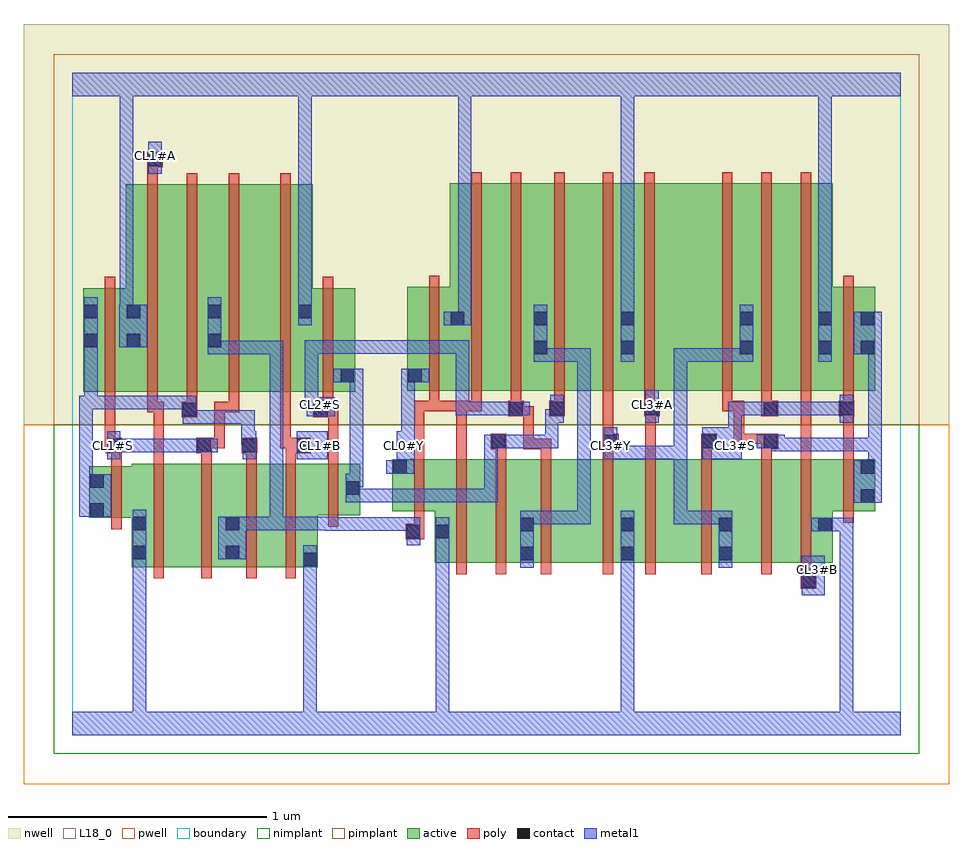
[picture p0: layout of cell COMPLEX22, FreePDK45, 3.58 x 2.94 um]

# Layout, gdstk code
import gdstk
lib = gdstk.Library(unit=1e-6, precision=1e-09)
def R(c, l, rs):  # rectangles x0, y0, x1, y1
    for r in rs: c.add(gdstk.rectangle(r[:2], r[2:], *l))
def A(c, l, x, y, w, h, nx, ny, dx, dy):  # array of equal rectangles
    R(c, l, [(x+i*dx, y+j*dy, x+i*dx+w, y+j*dy+h) for i in range(nx) for j in range(ny)])
active = (1, 0)
pwell = (2, 0)
nwell = (3, 0)
nimplant = (4, 0)
pimplant = (5, 0)
poly = (9, 0)
contact = (10, 0)
metal1 = (11, 0)
L18_0 = (18, 0)
boundary = (235, 0)

complex22 = lib.new_cell('COMPLEX22')
R(complex22, active, [(0.23,0.65,0.41,1.05), (0.41,0.65,0.648,1.05), (0.588,0.65,0.768,1.05), (0.768,0.65,0.948,1.05), (0.888,0.65,0.948,0.85), (1.4,0.666,1.58,1.066), (1.4,0.666,1.46,0.866), (1.58,0.666,1.786,1.066), (1.726,0.666,1.786,1.066), (1.726,0.666,1.994,1.066), (1.994,0.666,2.174,1.066), (2.114,0.666,2.31,1.066), (2.114,0.666,2.174,1.066), (2.31,0.666,2.554,1.066), (2.494,0.666,2.758,1.066), (2.494,0.666,2.554,0.844), (2.758,0.666,2.938,1.066), (0.23,0.676,0.29,0.848), (0.588,0.676,0.648,0.848), (2.878,0.784,2.938,1.066), (0.066,0.84,0.29,1.04), (0.066,0.84,0.126,1.04), (0.888,0.85,1.112,1.05), (1.236,0.866,1.46,1.066), (1.236,0.866,1.296,1.066), (2.878,0.866,3.102,1.066), (3.042,0.894,3.102,1.066), (1.052,0.926,1.112,1.05), (0.042,1.328,0.102,1.728), (0.042,1.328,0.266,1.728), (0.206,1.328,0.386,2.128), (0.386,1.328,0.58,2.128), (0.52,1.328,0.748,2.128), (0.52,1.328,0.58,2.044), (0.748,1.328,0.928,2.128), (0.868,1.328,1.092,1.728), (0.868,1.328,0.928,1.668), (1.032,1.328,1.092,1.644), (1.294,1.332,1.518,1.732), (1.294,1.332,1.354,1.644), (1.458,1.332,1.638,2.132), (1.458,1.332,1.518,2.132), (1.638,1.332,1.838,2.132), (1.778,1.332,1.958,2.132), (1.778,1.332,1.838,2.132), (1.958,1.332,2.174,2.132), (2.114,1.332,2.306,2.132), (2.306,1.332,2.634,2.132), (2.574,1.332,2.758,2.132), (2.574,1.332,2.634,2.044), (2.758,1.332,2.938,2.132), (2.878,1.332,3.102,1.732), (3.042,1.332,3.102,1.732), (2.114,1.468,2.174,2.044), (2.878,1.468,2.938,2.132), (0.206,1.496,0.266,2.128)])
R(complex22, pwell, [(-0.188,-0.188,3.388,1.2)])
R(complex22, nwell, [(-0.188,1.2,3.388,2.748)])
R(complex22, nimplant, [(-0.072,-0.072,3.272,1.2)])
R(complex22, pimplant, [(-0.072,1.2,3.272,2.632)])
A(complex22, poly, 2.51, 1.288, 0.04, 0.888, 3, 1, 0.152, 0)
R(complex22, poly, [(2.814,0.566,2.874,0.626), (2.814,0.586,2.854,0.662), (0.314,0.606,0.354,1.094), (0.498,0.606,0.538,1.094), (0.672,0.606,0.712,1.094), (0.824,0.606,0.864,1.094), (1.484,0.622,1.524,1.11), (1.636,0.622,1.676,1.11), (1.81,0.622,1.85,1.11), (2.05,0.622,2.09,1.11), (2.214,0.622,2.254,1.11), (2.43,0.622,2.47,1.11), (2.662,0.622,2.702,1.11), (2.814,0.622,2.854,1.11), (1.288,0.758,1.36,0.818), (1.32,0.778,1.36,0.862), (0.15,0.796,0.19,1.084), (0.988,0.806,1.028,1.094), (1.32,0.822,1.36,1.11), (2.978,0.822,3.018,1.11), (0.15,1.044,0.19,1.13), (0.314,1.054,0.354,1.288), (0.498,1.054,0.538,1.13), (0.672,1.054,0.712,1.13), (0.824,1.054,0.864,1.13), (0.988,1.054,1.028,1.268), (1.32,1.07,1.36,1.292), (1.484,1.07,1.524,1.292), (1.636,1.07,1.676,1.146), (1.81,1.07,1.85,1.146), (2.05,1.07,2.09,1.146), (2.214,1.07,2.254,1.272), (2.43,1.07,2.47,1.146), (2.662,1.07,2.702,1.146), (2.814,1.07,2.854,1.218), (2.978,1.07,3.018,1.272), (0.13,1.09,0.19,1.15), (0.478,1.09,0.538,1.15), (0.654,1.09,0.714,1.15), (0.824,1.09,0.922,1.15), (1.616,1.106,1.676,1.166), (1.742,1.106,1.782,1.146), (1.742,1.106,1.782,1.272), (1.742,1.106,1.85,1.146), (1.81,1.106,1.85,1.146), (2.05,1.106,2.11,1.166), (2.43,1.106,2.49,1.166), (2.662,1.106,2.728,1.166), (0.126,1.11,0.166,1.324), (0.126,1.11,0.17,1.15), (0.13,1.11,0.17,1.15), (0.498,1.11,0.588,1.15), (0.548,1.11,0.588,1.15), (0.548,1.11,0.588,1.288), (0.804,1.11,0.844,1.324), (0.804,1.11,0.864,1.15), (0.824,1.11,0.864,1.15), (2.05,1.126,2.09,1.166), (2.05,1.126,2.09,1.166), (2.05,1.126,2.09,1.328), (2.556,1.126,2.596,1.166), (2.556,1.126,2.702,1.166), (2.556,1.126,2.596,1.292), (2.814,1.178,2.854,1.218), (2.814,1.178,2.854,1.218), (2.814,1.178,2.854,1.218), (2.814,1.178,2.854,1.328), (0.422,1.228,0.482,1.288), (0.93,1.228,1.028,1.288), (0.988,1.228,1.028,1.268), (0.988,1.228,1.028,1.268), (1.684,1.232,1.744,1.292), (1.704,1.232,1.782,1.272), (1.742,1.232,1.782,1.272), (1.842,1.232,1.902,1.292), (2.21,1.232,2.27,1.292), (2.214,1.232,2.254,1.272), (2.214,1.232,2.254,1.272), (2.662,1.232,2.728,1.292), (2.96,1.232,3.02,1.292), (2.978,1.232,3.018,1.272), (2.978,1.232,3.018,1.272), (0.29,1.248,0.33,1.324), (0.29,1.248,0.34,1.288), (0.3,1.248,0.34,1.288), (0.3,1.248,0.354,1.288), (0.442,1.248,0.482,1.324), (0.548,1.248,0.588,1.288), (0.548,1.248,0.644,1.288), (0.604,1.248,0.644,1.324), (0.604,1.248,0.644,1.288), (0.968,1.248,1.008,1.324), (1.32,1.252,1.36,1.292), (1.32,1.252,1.36,1.292), (1.32,1.252,1.418,1.292), (1.378,1.252,1.418,1.328), (1.378,1.252,1.418,1.292), (1.378,1.252,1.418,1.292), (1.378,1.252,1.524,1.292), (1.484,1.252,1.524,1.292), (1.484,1.252,1.524,1.292), (1.484,1.252,1.582,1.292), (1.542,1.252,1.582,1.328), (1.694,1.252,1.734,1.328), (1.862,1.252,1.902,1.328), (2.21,1.252,2.25,1.328), (2.51,1.252,2.55,1.328), (2.51,1.252,2.55,1.292), (2.51,1.252,2.596,1.292), (2.556,1.252,2.596,1.292), (2.662,1.252,2.702,1.328), (2.978,1.252,3.018,1.328), (0.126,1.284,0.166,1.772), (0.29,1.284,0.33,2.172), (0.442,1.284,0.482,2.172), (0.604,1.284,0.644,2.172), (0.804,1.284,0.844,2.172), (0.968,1.284,1.008,1.772), (1.378,1.288,1.418,1.776), (1.542,1.288,1.582,2.176), (1.694,1.288,1.734,2.176), (1.862,1.288,1.902,2.176), (2.05,1.288,2.09,2.176), (2.21,1.288,2.25,2.176), (2.978,1.288,3.018,1.776), (0.29,2.132,0.33,2.234), (0.29,2.194,0.35,2.254)])
R(complex22, contact, [(2.818,0.57,2.87,0.622), (0.892,0.654,0.944,0.706), (1.73,0.676,1.782,0.728), (2.118,0.676,2.17,0.728), (2.498,0.676,2.55,0.728), (0.234,0.68,0.286,0.732), (0.592,0.68,0.644,0.732), (1.292,0.762,1.344,0.814), (1.404,0.762,1.456,0.814), (1.73,0.788,1.782,0.84), (2.118,0.788,2.17,0.84), (2.498,0.788,2.55,0.84), (2.882,0.788,2.934,0.84), (0.234,0.792,0.286,0.844), (0.592,0.792,0.644,0.844), (0.07,0.844,0.122,0.896), (3.046,0.898,3.098,0.95), (1.056,0.93,1.108,0.982), (0.07,0.956,0.122,1.008), (1.24,1.01,1.292,1.062), (3.046,1.01,3.098,1.062), (0.134,1.094,0.186,1.146), (0.482,1.094,0.534,1.146), (0.658,1.094,0.71,1.146), (0.866,1.094,0.918,1.146), (1.62,1.11,1.672,1.162), (2.054,1.11,2.106,1.162), (2.434,1.11,2.486,1.162), (2.672,1.11,2.724,1.162), (0.426,1.232,0.478,1.284), (0.934,1.232,0.986,1.284), (1.688,1.236,1.74,1.288), (1.846,1.236,1.898,1.288), (2.214,1.236,2.266,1.288), (2.672,1.236,2.724,1.288), (2.964,1.236,3.016,1.288), (1.036,1.364,1.088,1.416), (1.298,1.364,1.35,1.416), (1.782,1.472,1.834,1.524), (2.118,1.472,2.17,1.524), (2.578,1.472,2.63,1.524), (2.882,1.472,2.934,1.524), (3.046,1.472,3.098,1.524), (0.046,1.5,0.098,1.552), (0.21,1.5,0.262,1.552), (0.524,1.5,0.576,1.552), (1.462,1.584,1.514,1.636), (1.782,1.584,1.834,1.636), (2.118,1.584,2.17,1.636), (2.578,1.584,2.63,1.636), (2.882,1.584,2.934,1.636), (3.046,1.584,3.098,1.636), (0.046,1.612,0.098,1.664), (0.21,1.612,0.262,1.664), (0.524,1.612,0.576,1.664), (0.872,1.612,0.924,1.664), (0.294,2.198,0.346,2.25)])
R(complex22, metal1, [(0,0,3.2,0.092), (0.234,0.04,0.286,0.092), (0.234,0.04,0.286,0.092), (0.234,0.04,0.286,0.092), (0.234,0.04,0.286,0.092), (0.234,0.04,0.286,0.092), (0.234,0.04,0.286,0.092), (0.234,0.04,0.286,0.092), (0.234,0.04,0.286,0.092), (0.234,0.04,0.286,0.092), (0.234,0.04,0.286,0.092), (0.234,0.04,0.286,0.092), (0.234,0.04,0.286,0.092), (0.234,0.04,0.286,0.704), (0.892,0.04,0.944,0.092), (0.892,0.04,0.944,0.092), (0.892,0.04,0.944,0.092), (0.892,0.04,0.944,0.092), (0.892,0.04,0.944,0.092), (0.892,0.04,0.944,0.092), (0.892,0.04,0.944,0.092), (0.892,0.04,0.944,0.092), (0.892,0.04,0.944,0.092), (0.892,0.04,0.944,0.092), (0.892,0.04,0.944,0.092), (0.892,0.04,0.944,0.092), (0.892,0.04,0.944,0.678), (1.404,0.04,1.456,0.092), (1.404,0.04,1.456,0.092), (1.404,0.04,1.456,0.092), (1.404,0.04,1.456,0.092), (1.404,0.04,1.456,0.092), (1.404,0.04,1.456,0.092), (1.404,0.04,1.456,0.092), (1.404,0.04,1.456,0.092), (1.404,0.04,1.456,0.092), (1.404,0.04,1.456,0.092), (1.404,0.04,1.456,0.092), (1.404,0.04,1.456,0.092), (1.404,0.04,1.456,0.786), (2.118,0.04,2.17,0.092), (2.118,0.04,2.17,0.092), (2.118,0.04,2.17,0.092), (2.118,0.04,2.17,0.092), (2.118,0.04,2.17,0.092), (2.118,0.04,2.17,0.092), (2.118,0.04,2.17,0.092), (2.118,0.04,2.17,0.092), (2.118,0.04,2.17,0.092), (2.118,0.04,2.17,0.092), (2.118,0.04,2.17,0.7), (2.964,0.04,3.016,0.092), (2.964,0.04,3.016,0.092), (2.964,0.04,3.016,0.092), (2.964,0.04,3.016,0.092), (2.964,0.04,3.016,0.092), (2.964,0.04,3.016,0.092), (2.964,0.04,3.016,0.092), (2.964,0.04,3.016,0.092), (2.964,0.04,3.016,0.092), (2.964,0.04,3.016,0.092), (2.964,0.04,3.016,0.092), (2.964,0.04,3.016,0.092), (2.964,0.04,3.016,0.84), (2.818,0.542,2.906,0.694), (0.892,0.626,0.944,0.734), (1.73,0.648,1.782,0.868), (2.118,0.648,2.17,0.7), (2.118,0.648,2.17,0.7), (2.118,0.648,2.17,0.868), (2.498,0.648,2.55,0.868), (0.234,0.652,0.286,0.872), (0.564,0.68,0.672,0.844), (1.292,0.734,1.344,0.842), (1.404,0.734,1.456,0.842), (2.854,0.788,3.016,0.84), (0.974,0.79,1.026,0.844), (0.974,0.79,1.138,0.842), (1.086,0.79,1.138,0.842), (1.086,0.79,1.344,0.842), (1.292,0.79,1.344,0.842), (1.292,0.79,1.344,0.842), (0.62,0.792,0.672,0.844), (0.62,0.792,0.672,0.844), (0.62,0.792,0.814,0.844), (0.762,0.792,0.814,0.844), (0.762,0.792,0.814,0.844), (0.762,0.792,0.814,0.844), (0.762,0.792,0.82,0.844), (0.762,0.792,0.814,1.524), (0.768,0.792,0.82,0.844), (0.768,0.792,0.95,0.844), (0.898,0.792,0.95,0.844), (0.898,0.792,0.95,0.844), (0.898,0.792,0.95,0.844), (0.898,0.792,0.95,0.844), (0.898,0.792,0.95,0.844), (0.898,0.792,1.026,0.844), (1.73,0.816,1.996,0.868), (1.944,0.816,1.996,0.868), (1.944,0.816,2.002,0.868), (1.95,0.816,2.002,0.868), (1.95,0.816,2.002,1.496), (2.324,0.816,2.376,0.868), (2.324,0.816,2.55,0.868), (2.324,0.816,2.376,1.118), (2.498,0.816,2.55,0.868), (2.498,0.816,2.55,0.868), (0.026,0.844,0.15,1.008), (3.018,0.898,3.126,1.062), (1.056,0.9,1.346,0.952), (1.056,0.9,1.108,0.954), (1.294,0.9,1.346,0.952), (1.294,0.9,1.346,0.952), (1.294,0.9,1.346,0.952), (1.294,0.9,1.534,0.952), (1.482,0.9,1.534,0.952), (1.482,0.9,1.534,0.952), (1.482,0.9,1.534,0.952), (1.482,0.9,1.534,0.952), (1.482,0.9,1.534,0.952), (1.482,0.9,1.644,0.952), (1.592,0.9,1.644,0.952), (1.592,0.9,1.644,1.162), (1.056,0.902,1.108,0.954), (1.056,0.902,1.108,1.01), (0.026,0.956,0.078,1.312), (1.056,0.958,1.108,1.01), (1.056,0.958,1.124,1.01), (1.072,0.958,1.124,1.01), (1.072,0.958,1.124,1.01), (1.072,0.958,1.124,1.416), (1.212,1.01,1.32,1.062), (1.254,1.01,1.306,1.118), (3.074,1.01,3.126,1.15), (0.134,1.066,0.186,1.174), (0.658,1.066,0.71,1.174), (0.866,1.066,0.986,1.174), (1.254,1.066,1.322,1.174), (2.054,1.066,2.216,1.118), (2.054,1.066,2.106,1.19), (2.164,1.066,2.216,1.118), (2.164,1.066,2.216,1.118), (2.164,1.066,2.216,1.118), (2.164,1.066,2.376,1.118), (2.324,1.066,2.376,1.118), (2.324,1.066,2.376,1.118), (2.324,1.066,2.376,1.118), (2.324,1.066,2.376,1.496), (2.434,1.066,2.586,1.19), (0.134,1.094,0.356,1.146), (0.304,1.094,0.356,1.146), (0.304,1.094,0.356,1.146), (0.304,1.094,0.356,1.146), (0.304,1.094,0.466,1.146), (0.414,1.094,0.466,1.146), (0.414,1.094,0.506,1.146), (0.454,1.094,0.562,1.146), (2.7,1.098,2.862,1.15), (2.7,1.098,2.752,1.162), (2.81,1.098,2.862,1.15), (2.81,1.098,2.862,1.15), (2.81,1.098,2.862,1.15), (2.81,1.098,3.126,1.15), (3.074,1.098,3.126,1.15), (3.074,1.098,3.126,1.15), (3.074,1.098,3.126,1.15), (3.074,1.098,3.126,1.524), (1.592,1.11,1.644,1.162), (1.592,1.11,1.644,1.162), (1.592,1.11,1.7,1.162), (1.648,1.11,1.878,1.162), (1.826,1.11,1.878,1.162), (1.826,1.11,1.878,1.26), (2.644,1.11,2.752,1.162), (2.7,1.11,2.752,1.162), (0.652,1.122,0.704,1.174), (0.652,1.122,0.71,1.174), (0.652,1.122,0.704,1.256), (1.27,1.122,1.322,1.174), (1.27,1.122,1.322,1.174), (1.27,1.122,1.322,1.416), (2.534,1.138,2.586,1.19), (2.534,1.138,2.586,1.19), (2.534,1.138,2.586,1.288), (0.426,1.204,0.478,1.312), (0.426,1.204,0.704,1.256), (0.652,1.204,0.704,1.256), (1.826,1.208,1.878,1.26), (1.826,1.208,1.898,1.26), (1.846,1.208,1.898,1.316), (2.214,1.208,2.266,1.334), (2.964,1.208,3.016,1.316), (0.906,1.232,1.014,1.306), (1.482,1.236,1.534,1.288), (1.482,1.236,1.534,1.288), (1.482,1.236,1.534,1.288), (1.482,1.236,1.644,1.288), (1.482,1.236,1.534,1.526), (1.592,1.236,1.644,1.288), (1.592,1.236,1.712,1.288), (1.66,1.236,1.768,1.288), (2.534,1.236,2.586,1.288), (2.534,1.236,2.696,1.288), (2.644,1.236,2.752,1.288), (2.7,1.236,2.752,1.288), (2.7,1.236,2.752,1.288), (2.7,1.236,2.906,1.288), (2.854,1.236,2.906,1.288), (2.854,1.236,2.906,1.288), (2.854,1.236,2.906,1.288), (2.854,1.236,3.016,1.288), (0.898,1.254,0.95,1.306), (0.898,1.254,0.95,1.306), (0.898,1.254,0.95,1.306), (0.898,1.254,0.958,1.306), (0.898,1.254,0.95,1.526), (0.026,1.26,0.078,1.312), (0.026,1.26,0.078,1.312), (0.026,1.26,0.098,1.312), (0.046,1.26,0.098,1.312), (0.046,1.26,0.098,1.312), (0.046,1.26,0.296,1.312), (0.046,1.26,0.098,1.524), (0.244,1.26,0.296,1.312), (0.244,1.26,0.296,1.312), (0.244,1.26,0.296,1.312), (0.244,1.26,0.466,1.312), (0.414,1.26,0.466,1.312), (0.414,1.26,0.478,1.312), (1.008,1.364,1.124,1.416), (1.27,1.364,1.378,1.416), (1.782,1.444,1.834,1.664), (1.782,1.444,1.996,1.496), (1.944,1.444,1.996,1.496), (1.944,1.444,2.002,1.496), (1.95,1.444,2.002,1.496), (1.95,1.444,2.002,1.496), (1.95,1.444,2.002,1.496), (1.95,1.444,2.002,1.496), (1.95,1.444,2.002,1.496), (2.118,1.444,2.17,1.664), (2.324,1.444,2.376,1.496), (2.324,1.444,2.376,1.496), (2.324,1.444,2.376,1.496), (2.324,1.444,2.63,1.496), (2.578,1.444,2.63,1.664), (2.882,1.444,2.934,1.664), (0.046,1.472,0.098,1.692), (0.524,1.472,0.576,1.692), (0.524,1.472,0.71,1.524), (0.658,1.472,0.71,1.524), (0.658,1.472,0.814,1.524), (0.762,1.472,0.814,1.524), (0.762,1.472,0.814,1.524), (0.762,1.472,0.814,1.524), (3.018,1.472,3.126,1.636), (3.074,1.472,3.126,1.524), (3.074,1.472,3.126,1.524), (0.898,1.474,0.95,1.526), (0.898,1.474,1.034,1.526), (0.982,1.474,1.034,1.526), (0.982,1.474,1.138,1.526), (1.086,1.474,1.138,1.526), (1.086,1.474,1.248,1.526), (1.196,1.474,1.248,1.526), (1.196,1.474,1.248,1.526), (1.196,1.474,1.248,1.526), (1.196,1.474,1.534,1.526), (1.482,1.474,1.534,1.526), (1.482,1.474,1.534,1.526), (1.482,1.474,1.534,1.526), (0.182,1.5,0.29,1.664), (0.872,1.584,0.924,1.692), (1.434,1.584,1.542,1.636), (1.49,1.584,1.542,1.636), (1.49,1.584,1.542,1.636), (1.49,1.584,1.542,1.636), (1.49,1.584,1.542,1.636), (1.49,1.584,1.542,2.52), (0.184,1.612,0.236,1.664), (0.184,1.612,0.236,1.664), (0.184,1.612,0.236,1.664), (0.184,1.612,0.236,1.664), (0.184,1.612,0.236,1.664), (0.184,1.612,0.236,1.664), (0.184,1.612,0.236,2.52), (2.118,1.612,2.17,2.52), (2.882,1.612,2.934,2.52), (0.872,1.64,0.924,1.692), (0.872,1.64,0.924,1.692), (0.872,1.64,0.924,1.692), (0.872,1.64,0.924,1.692), (0.872,1.64,0.924,2.52), (0.294,2.17,0.346,2.294), (0,2.468,3.2,2.56), (0.184,2.468,0.236,2.52), (0.184,2.468,0.236,2.52), (0.872,2.468,0.924,2.52), (0.872,2.468,0.924,2.52), (0.872,2.468,0.924,2.52), (0.872,2.468,0.924,2.52), (1.49,2.468,1.542,2.52), (1.49,2.468,1.542,2.52), (1.49,2.468,1.542,2.52), (1.49,2.468,1.542,2.52), (2.118,2.468,2.17,2.52), (2.118,2.468,2.17,2.52), (2.118,2.468,2.17,2.52), (2.118,2.468,2.17,2.52), (2.118,2.468,2.17,2.52), (2.118,2.468,2.17,2.52), (2.118,2.468,2.17,2.52), (2.118,2.468,2.17,2.52), (2.882,2.468,2.934,2.52), (2.882,2.468,2.934,2.52), (2.882,2.468,2.934,2.52), (2.882,2.468,2.934,2.52), (2.882,2.468,2.934,2.52), (2.882,2.468,2.934,2.52), (2.882,2.468,2.934,2.52), (2.882,2.468,2.934,2.52)])
R(complex22, L18_0, [(0,0,3.2,0.092), (0.234,0.04,0.286,0.092), (0.234,0.04,0.286,0.092), (0.234,0.04,0.286,0.092), (0.234,0.04,0.286,0.092), (0.234,0.04,0.286,0.092), (0.234,0.04,0.286,0.092), (0.234,0.04,0.286,0.092), (0.234,0.04,0.286,0.092), (0.234,0.04,0.286,0.092), (0.234,0.04,0.286,0.092), (0.234,0.04,0.286,0.092), (0.234,0.04,0.286,0.092), (0.234,0.04,0.286,0.704), (0.892,0.04,0.944,0.092), (0.892,0.04,0.944,0.092), (0.892,0.04,0.944,0.092), (0.892,0.04,0.944,0.092), (0.892,0.04,0.944,0.092), (0.892,0.04,0.944,0.092), (0.892,0.04,0.944,0.092), (0.892,0.04,0.944,0.092), (0.892,0.04,0.944,0.092), (0.892,0.04,0.944,0.092), (0.892,0.04,0.944,0.092), (0.892,0.04,0.944,0.092), (0.892,0.04,0.944,0.678), (1.404,0.04,1.456,0.092), (1.404,0.04,1.456,0.092), (1.404,0.04,1.456,0.092), (1.404,0.04,1.456,0.092), (1.404,0.04,1.456,0.092), (1.404,0.04,1.456,0.092), (1.404,0.04,1.456,0.092), (1.404,0.04,1.456,0.092), (1.404,0.04,1.456,0.092), (1.404,0.04,1.456,0.092), (1.404,0.04,1.456,0.092), (1.404,0.04,1.456,0.092), (1.404,0.04,1.456,0.786), (2.118,0.04,2.17,0.092), (2.118,0.04,2.17,0.092), (2.118,0.04,2.17,0.092), (2.118,0.04,2.17,0.092), (2.118,0.04,2.17,0.092), (2.118,0.04,2.17,0.092), (2.118,0.04,2.17,0.092), (2.118,0.04,2.17,0.092), (2.118,0.04,2.17,0.092), (2.118,0.04,2.17,0.092), (2.118,0.04,2.17,0.7), (2.964,0.04,3.016,0.092), (2.964,0.04,3.016,0.092), (2.964,0.04,3.016,0.092), (2.964,0.04,3.016,0.092), (2.964,0.04,3.016,0.092), (2.964,0.04,3.016,0.092), (2.964,0.04,3.016,0.092), (2.964,0.04,3.016,0.092), (2.964,0.04,3.016,0.092), (2.964,0.04,3.016,0.092), (2.964,0.04,3.016,0.092), (2.964,0.04,3.016,0.092), (2.964,0.04,3.016,0.84), (2.818,0.542,2.906,0.694), (2.854,0.614,2.906,0.666), (0.892,0.626,0.944,0.734), (2.118,0.648,2.17,0.7), (2.118,0.648,2.17,0.7), (2.118,0.648,2.17,0.868), (2.498,0.648,2.55,0.868), (0.234,0.652,0.286,0.872), (1.404,0.734,1.456,0.842), (2.854,0.788,3.016,0.84), (2.324,0.816,2.376,0.868), (2.324,0.816,2.376,1.118), (2.324,0.816,2.55,0.868), (2.498,0.816,2.55,0.868), (2.498,0.816,2.55,0.868), (1.212,1.01,1.32,1.062), (1.254,1.01,1.306,1.118), (0.134,1.066,0.186,1.174), (0.866,1.066,0.986,1.174), (1.254,1.066,1.322,1.174), (2.054,1.066,2.106,1.19), (2.054,1.066,2.216,1.118), (2.164,1.066,2.216,1.118), (2.164,1.066,2.216,1.118), (2.164,1.066,2.216,1.118), (2.164,1.066,2.376,1.118), (2.324,1.066,2.376,1.118), (2.324,1.066,2.376,1.118), (2.324,1.066,2.376,1.118), (2.324,1.066,2.376,1.496), (2.434,1.066,2.586,1.19), (0.134,1.094,0.186,1.146), (0.134,1.094,0.356,1.146), (0.304,1.094,0.356,1.146), (0.304,1.094,0.356,1.146), (0.304,1.094,0.356,1.146), (0.304,1.094,0.466,1.146), (0.414,1.094,0.466,1.146), (0.414,1.094,0.506,1.146), (0.454,1.094,0.562,1.146), (0.934,1.094,0.986,1.146), (1.254,1.094,1.306,1.146), (2.054,1.094,2.106,1.146), (2.534,1.094,2.586,1.146), (1.27,1.122,1.322,1.174), (1.27,1.122,1.322,1.174), (1.27,1.122,1.322,1.416), (2.534,1.138,2.586,1.19), (2.534,1.138,2.586,1.19), (2.534,1.138,2.586,1.288), (2.214,1.208,2.266,1.334), (2.964,1.208,3.016,1.316), (0.906,1.232,1.014,1.306), (1.482,1.236,1.534,1.288), (1.482,1.236,1.534,1.288), (1.482,1.236,1.534,1.288), (1.482,1.236,1.644,1.288), (1.482,1.236,1.534,1.526), (1.592,1.236,1.644,1.288), (1.592,1.236,1.712,1.288), (1.66,1.236,1.768,1.288), (2.534,1.236,2.586,1.288), (2.534,1.236,2.696,1.288), (2.644,1.236,2.752,1.288), (2.7,1.236,2.752,1.288), (2.7,1.236,2.752,1.288), (2.7,1.236,2.906,1.288), (2.854,1.236,2.906,1.288), (2.854,1.236,2.906,1.288), (2.854,1.236,2.906,1.288), (2.854,1.236,3.016,1.288), (0.898,1.254,0.95,1.306), (0.898,1.254,0.95,1.306), (0.898,1.254,0.95,1.306), (0.898,1.254,0.95,1.526), (0.898,1.254,0.958,1.306), (0.934,1.254,0.986,1.306), (2.214,1.254,2.266,1.306), (1.27,1.364,1.378,1.416), (2.118,1.444,2.17,1.664), (2.324,1.444,2.376,1.496), (2.324,1.444,2.376,1.496), (2.324,1.444,2.376,1.496), (2.324,1.444,2.63,1.496), (2.578,1.444,2.63,1.664), (2.882,1.444,2.934,1.664), (0.898,1.474,0.95,1.526), (0.898,1.474,1.034,1.526), (0.982,1.474,1.034,1.526), (0.982,1.474,1.138,1.526), (1.086,1.474,1.138,1.526), (1.086,1.474,1.248,1.526), (1.196,1.474,1.248,1.526), (1.196,1.474,1.248,1.526), (1.196,1.474,1.248,1.526), (1.196,1.474,1.534,1.526), (1.482,1.474,1.534,1.526), (1.482,1.474,1.534,1.526), (1.482,1.474,1.534,1.526), (0.182,1.5,0.29,1.664), (0.872,1.584,0.924,1.692), (1.434,1.584,1.542,1.636), (1.49,1.584,1.542,1.636), (1.49,1.584,1.542,1.636), (1.49,1.584,1.542,1.636), (1.49,1.584,1.542,1.636), (1.49,1.584,1.542,2.52), (0.184,1.612,0.236,1.664), (0.184,1.612,0.236,1.664), (0.184,1.612,0.236,1.664), (0.184,1.612,0.236,1.664), (0.184,1.612,0.236,1.664), (0.184,1.612,0.236,1.664), (0.184,1.612,0.236,2.52), (2.118,1.612,2.17,2.52), (2.882,1.612,2.934,2.52), (0.872,1.64,0.924,1.692), (0.872,1.64,0.924,1.692), (0.872,1.64,0.924,1.692), (0.872,1.64,0.924,1.692), (0.872,1.64,0.924,2.52), (0.294,2.17,0.346,2.294), (0.294,2.214,0.346,2.266), (0,2.468,3.2,2.56), (0.184,2.468,0.236,2.52), (0.184,2.468,0.236,2.52), (0.872,2.468,0.924,2.52), (0.872,2.468,0.924,2.52), (0.872,2.468,0.924,2.52), (0.872,2.468,0.924,2.52), (1.49,2.468,1.542,2.52), (1.49,2.468,1.542,2.52), (1.49,2.468,1.542,2.52), (1.49,2.468,1.542,2.52), (2.118,2.468,2.17,2.52), (2.118,2.468,2.17,2.52), (2.118,2.468,2.17,2.52), (2.118,2.468,2.17,2.52), (2.118,2.468,2.17,2.52), (2.118,2.468,2.17,2.52), (2.118,2.468,2.17,2.52), (2.118,2.468,2.17,2.52), (2.882,2.468,2.934,2.52), (2.882,2.468,2.934,2.52), (2.882,2.468,2.934,2.52), (2.882,2.468,2.934,2.52), (2.882,2.468,2.934,2.52), (2.882,2.468,2.934,2.52), (2.882,2.468,2.934,2.52), (2.882,2.468,2.934,2.52)])
R(complex22, boundary, [(0,0,3.2,2.56)])
complex22.add(gdstk.Label('CL0#Y', (1.28,1.12), layer=11, texttype=0))
complex22.add(gdstk.Label('CL1#A', (0.32,2.24), layer=11, texttype=0))
complex22.add(gdstk.Label('CL1#B', (0.96,1.12), layer=11, texttype=0))
complex22.add(gdstk.Label('CL1#S', (0.16,1.12), layer=11, texttype=0))
complex22.add(gdstk.Label('CL2#S', (0.96,1.28), layer=11, texttype=0))
complex22.add(gdstk.Label('CL3#A', (2.24,1.28), layer=11, texttype=0))
complex22.add(gdstk.Label('CL3#B', (2.88,0.64), layer=11, texttype=0))
complex22.add(gdstk.Label('CL3#S', (2.56,1.12), layer=11, texttype=0))
complex22.add(gdstk.Label('CL3#Y', (2.08,1.12), layer=11, texttype=0))

lib.write_gds('COMPLEX22.gds')
